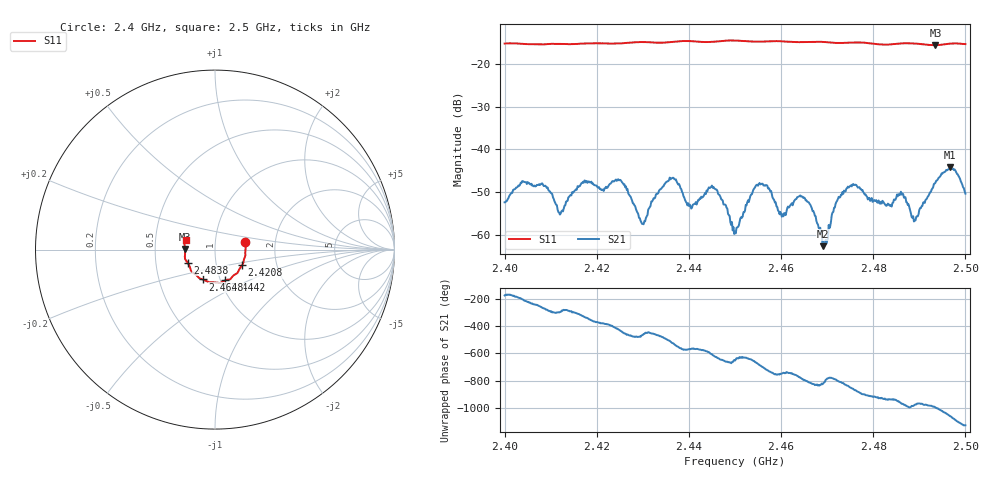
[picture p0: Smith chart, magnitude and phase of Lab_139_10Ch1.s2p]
# Hz S RI R 50
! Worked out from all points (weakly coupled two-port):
!   601 points, 2.4 GHz to 2.5 GHz, reference 50 ohm
!   highest |S21| = -44.18 dB at 2.4967 GHz (marker M1); lowest = -62.7 dB at 2.469 GHz (marker M2)
!   lowest |S11| = -15.6 dB at 2.4935 GHz (marker M3), VSWR 1.40, Z = 35.8 + j0.217 ohm
!   |S11| at or under -10 dB: start of sweep to end of sweep
!   S12 and S22 are empty: the file has one direction only
!   S11 on the Smith chart (normalised r, x): 2.4 GHz: 1.40, +0.12; 2.4208 GHz: 1.33, -0.24; 2.4442 GHz: 1.05, -0.37; 2.4648 GHz: 0.83, -0.29; 2.4838 GHz: 0.73, -0.11; 2.5 GHz: 0.72, +0.08
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2.4e9  0.168 0.0409  -0.0024 -0.000126  0 0  0 0
2.407833e9  0.1684 -0.0158  -0.000719 0.00382  0 0  0 0
2.412167e9  0.1672 -0.0395  0.000738 0.00161  0 0  0 0
2.416667e9  0.1589 -0.0681  0.0032 0.00243  0 0  0 0
2.420833e9  0.1507 -0.0875  0.00323 -0.0012  0 0  0 0
2.425167e9  0.1353 -0.109  0.00109 -0.00423  0 0  0 0
2.43e9  0.1245 -0.1304  -0.000341 -0.0013  0 0  0 0
2.433333e9  0.108 -0.1403  -0.000974 -0.00291  0 0  0 0
2.444167e9  0.0567 -0.1711  -0.00221 0.00263  0 0  0 0
2.45e9  0.0246 -0.1863  0.000405 0.00101  0 0  0 0
2.455e9  -0.00704 -0.1824  0.00272 0.00258  0 0  0 0
2.460167e9  -0.0364 -0.1802  0.00146 -0.000721  0 0  0 0
2.464833e9  -0.0682 -0.1666  0.0008 -0.00258  0 0  0 0
2.466667e9  -0.08 -0.1626  -0.000341 -0.00202  0 0  0 0
2.469e9  -0.0898 -0.1572  -0.000186 -0.000711  0 0  0 0
2.475e9  -0.1222 -0.1284  -0.00227 -0.00295  0 0  0 0
2.483333e9  -0.1504 -0.0762  -0.0019 0.00127  0 0  0 0
2.483833e9  -0.1531 -0.0721  -0.00183 0.00127  0 0  0 0
2.489333e9  -0.1679 -0.0412  -0.000512 0.00153  0 0  0 0
2.4935e9  -0.1658 0.00295  0.000205 0.00406  0 0  0 0
2.496667e9  -0.1701 0.0302  0.00568 0.00244  0 0  0 0
2.5e9  -0.1624 0.0527  0.0022 -0.00208  0 0  0 0
